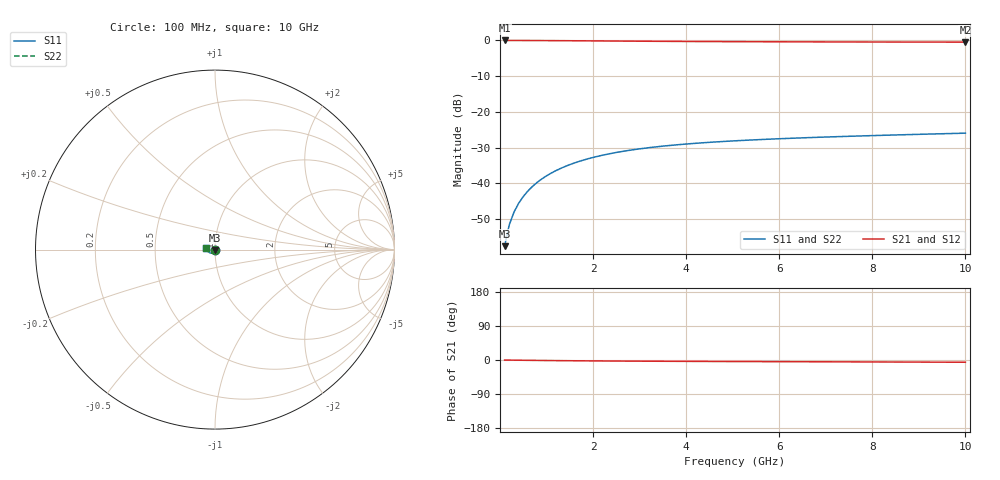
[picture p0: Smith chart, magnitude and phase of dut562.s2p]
! Touchstone file exported from HFSS 2024.1.0
!  File:  C:/UserFiles/LocalFiles/RDL_TSV_Batchsim/temp_TSV1_562_1779707429.aedt
!  Generated:  07:15:27 PM May 25, 2026
!  Design:  TSV1
!  Project:  temp_TSV1_562_1779707429
!  Setup:  Setup1
!  Solution:  Sweep
! Variables:
!  dtsv = 9.93um
!  hbump = 3um
!  htsv = 91.77um
!  lrdl = 252.1521522um
!  p = 40
!  p1 = 56.33um
!  t = 500um
!  trdl = 3um
!  wrdl = 24.89489489um
# GHz S MA R 50.000000
! Terminal data exported
! Port[1] = TSV22_T1
! Port[2] = TSV22_T2
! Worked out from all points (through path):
!   100 points, 100 MHz to 10 GHz, reference 50 ohm
!   highest |S21| = 0.00 dB at 100 MHz (marker M1); lowest = -0.5 dB at 10 GHz (marker M2)
!   lowest |S11| = -57.6 dB at 100 MHz (marker M3), VSWR 1.00, Z = 50 - j0.132 ohm
!   |S11| at or under -10 dB: start of sweep to end of sweep
!   |S22| runs from -57.6 to -25.9 dB; largest |S21 - S12| = 3e-15
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0.1  0.001326 -85.1  0.9998 -0.1  0.9998 -0.1  0.001326 -85.1
! Gamma 0 0 0 0
! Port Impedance 50 0 50 0
0.2  0.002638 -90.4  0.9996 -0.3  0.9996 -0.3  0.002638 -90.4
0.3  0.00395 -93.5  0.9994 -0.4  0.9994 -0.4  0.00395 -93.5
0.4  0.005257 -96.0  0.9991 -0.6  0.9991 -0.6  0.005257 -96.0
0.5  0.006554 -98.4  0.9986 -0.7  0.9986 -0.7  0.006554 -98.4
0.6  0.007837 -100.6  0.9981 -0.8  0.9981 -0.8  0.007837 -100.6
0.7  0.009102 -102.7  0.9976 -1.0  0.9976 -1.0  0.009102 -102.7
0.8  0.01035 -104.8  0.9969 -1.1  0.9969 -1.1  0.01035 -104.8
0.9  0.01157 -106.8  0.9962 -1.2  0.9962 -1.2  0.01157 -106.8
1.1  0.01393 -110.7  0.9946 -1.5  0.9946 -1.5  0.01393 -110.7
1.4  0.01727 -116.3  0.9919 -1.8  0.9919 -1.8  0.01727 -116.3
1.6  0.01933 -119.9  0.99 -2.0  0.99 -2.0  0.01933 -119.9
1.8  0.02128 -123.3  0.988 -2.2  0.988 -2.2  0.02128 -123.3
2.1  0.02395 -128.1  0.9849 -2.5  0.9849 -2.5  0.02395 -128.1
2.5  0.02711 -134.1  0.9808 -2.8  0.9808 -2.8  0.02711 -134.1
2.9  0.02983 -139.6  0.977 -3.0  0.977 -3.0  0.02983 -139.6
3.4  0.03271 -145.8  0.9726 -3.3  0.9726 -3.3  0.03271 -145.8
4.2  0.0364 -154.5  0.9667 -3.7  0.9667 -3.7  0.0364 -154.5
5.1  0.03961 -162.7  0.9615 -4.0  0.9615 -4.0  0.03961 -162.7
6.7  0.04388 -174.7  0.955 -4.7  0.955 -4.7  0.04388 -174.7
8.4  0.04746 175.1  0.9505 -5.3  0.9505 -5.3  0.04746 175.1
10  0.05047 167.0  0.9477 -5.9  0.9477 -5.9  0.05047 167.0
